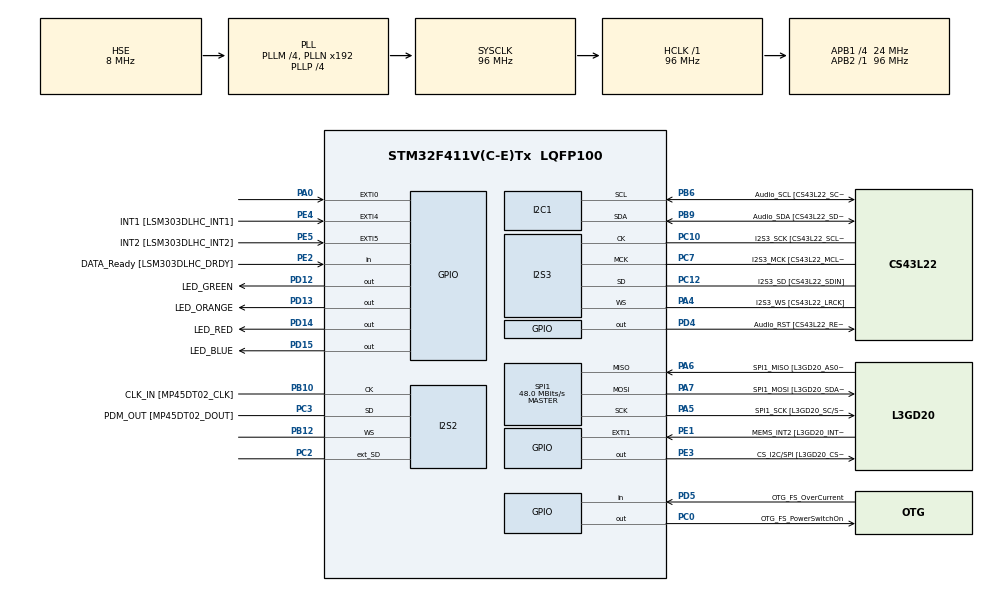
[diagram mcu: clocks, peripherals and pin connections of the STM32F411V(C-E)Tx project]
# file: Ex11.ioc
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FREERTOS.BinarySemaphores01=CriticalResourceSemaphore,Dynamic,NULL
FREERTOS.INCLUDE_vTaskDelayUntil=1
FREERTOS.Mutexes01=CriticalResourceMutex,Dynamic,NULL
FREERTOS.Tasks01=FlashGreenLed,0,128,StartFlashGreenLedTask,Default,NULL,Dynamic,NULL,NULL;FlashRedLed,2,128,StartFlashRedLedTask,Default,NULL,Dynamic,NULL,NULL;FlashOrangeLed,1,128,StartFlashOrangeLedTask,Default,NULL,Dynamic,NULL,NULL
FREERTOS.configUSE_NEWLIB_REENTRANT=1
I2S2.AudioFreq=I2S_AUDIOFREQ_96K
I2S2.ErrorAudioFreq=0.15 %
I2S2.FullDuplexMode=I2S_FULLDUPLEXMODE_ENABLE
I2S2.Instance=SPI$Index
I2S2.RealAudioFreq=96.153 KHz
I2S2.VirtualMode=I2S_MODE_MASTER
I2S3.AudioFreq=I2S_AUDIOFREQ_96K
I2S3.ErrorAudioFreq=-6.99 %
I2S3.FullDuplexMode=I2S_FULLDUPLEXMODE_DISABLE
I2S3.Instance=SPI$Index
I2S3.RealAudioFreq=89.285 KHz
I2S3.VirtualMode=I2S_MODE_MASTER
Mcu.Family=STM32F4
Mcu.Name=STM32F411V(C-E)Tx
Mcu.Package=LQFP100
NVIC.PriorityGroup=NVIC_PRIORITYGROUP_4
NVIC.TIM1_UP_TIM10_IRQn=true\:15\:0\:false\:false\:true\:false\:false\:true\:true
NVIC.TimeBase=TIM1_UP_TIM10_IRQn
NVIC.TimeBaseIP=TIM1
PA0-WKUP.GPIO_ModeDefaultEXTI=GPIO_MODE_EVT_RISING
PA0-WKUP.Signal=GPXTI0
PA10.GPIO_Label=OTG_FS_ID
PA10.Signal=USB_OTG_FS_ID
PA11.GPIO_Label=OTG_FS_DM
PA11.Signal=USB_OTG_FS_DM
PA12.GPIO_Label=OTG_FS_DP
PA12.Signal=USB_OTG_FS_DP
PA13.GPIO_Label=SWDIO
PA13.Mode=Serial_Wire
PA13.Signal=SYS_JTMS-SWDIO
PA14.GPIO_Label=SWCLK
PA14.Mode=Serial_Wire
PA14.Signal=SYS_JTCK-SWCLK
PA4.GPIO_Label=I2S3_WS [CS43L22_LRCK]
PA4.GPIO_Mode=GPIO_MODE_AF_PP
PA4.GPIO_PuPd=GPIO_NOPULL
PA4.GPIO_Speed=GPIO_SPEED_FREQ_LOW
PA4.Mode=Half_Duplex_Master
PA4.Signal=I2S3_WS
PA5.GPIO_Label=SPI1_SCK [L3GD20_SC/SPC]
PA5.Mode=Full_Duplex_Master
PA5.Signal=SPI1_SCK
PA6.GPIO_Label=SPI1_MISO [L3GD20_AS0/SDO]
PA6.Mode=Full_Duplex_Master
PA6.Signal=SPI1_MISO
PA7.GPIO_Label=SPI1_MOSI [L3GD20_SDA/SDI/SDO]
PA7.Mode=Full_Duplex_Master
PA7.Signal=SPI1_MOSI
PA9.GPIO_Label=VBUS_FS
PA9.Signal=USB_OTG_FS_VBUS
PB10.GPIO_Label=CLK_IN [MP45DT02_CLK]
PB10.Mode=Full_Duplex_Master
PB10.Signal=I2S2_CK
PB12.Mode=Full_Duplex_Master
PB12.Signal=I2S2_WS
PB3.GPIO_Label=SWO
PB3.Signal=SYS_JTDO-SWO
PB6.GPIO_Label=Audio_SCL [CS43L22_SCL]
PB6.GPIO_Mode=GPIO_MODE_AF_OD
PB6.GPIO_Pu=GPIO_PULLUP
PB6.GPIO_PuPd=GPIO_NOPULL
PB6.GPIO_Speed=GPIO_SPEED_FREQ_LOW
PB6.Mode=I2C
PB6.Signal=I2C1_SCL
PB9.GPIO_Label=Audio_SDA [CS43L22_SDA]
PB9.GPIO_Mode=GPIO_MODE_AF_OD
PB9.GPIO_Pu=GPIO_PULLUP
PB9.GPIO_PuPd=GPIO_NOPULL
PB9.GPIO_Speed=GPIO_SPEED_FREQ_LOW
PB9.Mode=I2C
PB9.Signal=I2C1_SDA
PC0.GPIO_Label=OTG_FS_PowerSwitchOn
PC0.PinState=GPIO_PIN_SET
PC0.Signal=GPIO_Output
PC10.GPIO_Label=I2S3_SCK [CS43L22_SCLK]
PC10.GPIO_Mode=GPIO_MODE_AF_PP
PC10.GPIO_PuPd=GPIO_NOPULL
PC10.GPIO_Speed=GPIO_SPEED_FREQ_LOW
PC10.Mode=Half_Duplex_Master
PC10.Signal=I2S3_CK
PC12.GPIO_Label=I2S3_SD [CS43L22_SDIN]
PC12.GPIO_Mode=GPIO_MODE_AF_PP
PC12.GPIO_PuPd=GPIO_NOPULL
PC12.GPIO_Speed=GPIO_SPEED_FREQ_LOW
PC12.Mode=Half_Duplex_Master
PC12.Signal=I2S3_SD
PC14-OSC32_IN.GPIO_Label=PC14-OSC32_IN
PC14-OSC32_IN.Mode=LSE-External-Oscillator
PC14-OSC32_IN.Signal=RCC_OSC32_IN
PC15-OSC32_OUT.GPIO_Label=PC15-OSC32_OUT
PC15-OSC32_OUT.Mode=LSE-External-Oscillator
PC15-OSC32_OUT.Signal=RCC_OSC32_OUT
PC2.Mode=Full_Duplex_Master
PC2.Signal=I2S2_ext_SD
PC3.GPIO_Label=PDM_OUT [MP45DT02_DOUT]
PC3.Mode=Full_Duplex_Master
PC3.Signal=I2S2_SD
PC7.GPIO_Label=I2S3_MCK [CS43L22_MCLK]
PC7.GPIO_Mode=GPIO_MODE_AF_PP
PC7.GPIO_PuPd=GPIO_NOPULL
PC7.GPIO_Speed=GPIO_SPEED_FREQ_LOW
PC7.Mode=Master_Clock_Activated
PC7.Signal=I2S3_MCK
PD12.GPIO_Label=LED_GREEN
PD12.GPIO_PuPd=GPIO_NOPULL
PD12.GPIO_Speed=GPIO_SPEED_FREQ_LOW
PD12.Signal=GPIO_Output
PD13.GPIO_Label=LED_ORANGE
PD13.GPIO_PuPd=GPIO_NOPULL
PD13.GPIO_Speed=GPIO_SPEED_FREQ_LOW
PD13.Signal=GPIO_Output
PD14.GPIO_Label=LED_RED
PD14.GPIO_PuPd=GPIO_NOPULL
PD14.GPIO_Speed=GPIO_SPEED_FREQ_LOW
PD14.Signal=GPIO_Output
PD15.GPIO_Label=LED_BLUE
PD15.GPIO_PuPd=GPIO_NOPULL
PD15.GPIO_Speed=GPIO_SPEED_FREQ_LOW
PD15.Signal=GPIO_Output
PD4.GPIO_Label=Audio_RST [CS43L22_RESET]
PD4.Signal=GPIO_Output
PD5.GPIO_Label=OTG_FS_OverCurrent
PD5.Signal=GPIO_Input
PE1.GPIO_Label=MEMS_INT2 [L3GD20_INT2]
PE1.GPIO_ModeDefaultEXTI=GPIO_MODE_EVT_RISING
PE1.Signal=GPXTI1
PE2.GPIO_Label=DATA_Ready [LSM303DLHC_DRDY]
PE2.Signal=GPIO_Input
PE3.GPIO_Label=CS_I2C/SPI [L3GD20_CS_I2C/SPI]
PE3.Signal=GPIO_Output
PE4.GPIO_Label=INT1 [LSM303DLHC_INT1]
PE4.GPIO_ModeDefaultEXTI=GPIO_MODE_EVT_RISING
PE4.Signal=GPXTI4
PE5.GPIO_Label=INT2 [LSM303DLHC_INT2]
PE5.GPIO_ModeDefaultEXTI=GPIO_MODE_EVT_RISING
PE5.Signal=GPXTI5
PH0\ -\ OSC_IN.GPIO_Label=PH0-OSC_IN
PH0\ -\ OSC_IN.Mode=HSE-External-Oscillator
PH0\ -\ OSC_IN.Signal=RCC_OSC_IN
PH1\ -\ OSC_OUT.GPIO_Label=PH1-OSC_OUT
PH1\ -\ OSC_OUT.Mode=HSE-External-Oscillator
PH1\ -\ OSC_OUT.Signal=RCC_OSC_OUT
ProjectManager.HeapSize=0x200
ProjectManager.StackSize=0x400
ProjectManager.TargetToolchain=STM32CubeIDE
RCC.48MHZClocksFreq_Value=48000000
RCC.AHBFreq_Value=96000000
RCC.APB1CLKDivider=RCC_HCLK_DIV4
RCC.APB1Freq_Value=24000000
RCC.APB1TimFreq_Value=48000000
RCC.APB2Freq_Value=96000000
RCC.APB2TimFreq_Value=96000000
RCC.CortexFreq_Value=96000000
RCC.HCLKFreq_Value=96000000
RCC.HSE_VALUE=8000000
RCC.HSI_VALUE=16000000
RCC.PLLI2SM=5
RCC.PLLI2SN=200
RCC.PLLM=4
RCC.PLLP=RCC_PLLP_DIV4
RCC.PLLQ=8
RCC.PLLSourceVirtual=RCC_PLLSOURCE_HSE
RCC.SYSCLKFreq_VALUE=96000000
RCC.SYSCLKSource=RCC_SYSCLKSOURCE_PLLCLK
RCC.VCOOutputFreq_Value=384000000
SPI1.BaudRatePrescaler=SPI_BAUDRATEPRESCALER_2
SPI1.CalculateBaudRate=48.0 MBits/s
SPI1.Direction=SPI_DIRECTION_2LINES
SPI1.Mode=SPI_MODE_MASTER
SPI1.VirtualType=VM_MASTER
VP_FREERTOS_VS_CMSIS_V1.Mode=CMSIS_V1
VP_SYS_VS_tim1.Mode=TIM1
board=STM32F411E-DISCO

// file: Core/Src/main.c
/* USER CODE BEGIN Header */
/**
  ******************************************************************************
  * @file           : main.c
  * @brief          : Main program body
  ******************************************************************************
  * @attention
  *
  * Copyright (c) 2024 STMicroelectronics.
  * All rights reserved.
  *
  * This software is licensed under terms that can be found in the LICENSE file
  * in the root directory of this software component.
  * If no LICENSE file comes with this software, it is provided AS-IS.
  *
  ******************************************************************************
  */
/* USER CODE END Header */
#include "main.h"
#include "cmsis_os.h"

I2C_HandleTypeDef hi2c1;

I2S_HandleTypeDef hi2s2;
I2S_HandleTypeDef hi2s3;

SPI_HandleTypeDef hspi1;

osThreadId FlashGreenLedHandle;
osThreadId FlashRedLedHandle;
osThreadId FlashOrangeLedHandle;
osMutexId CriticalResourceMutexHandle;
osSemaphoreId CriticalResourceSemaphoreHandle;

void SystemClock_Config(void);
void PeriphCommonClock_Config(void);
static void MX_GPIO_Init(void);
static void MX_I2C1_Init(void);
static void MX_I2S2_Init(void);
static void MX_I2S3_Init(void);
static void MX_SPI1_Init(void);
void StartFlashGreenLedTask(void const * argument);
void StartFlashRedLedTask(void const * argument);
void StartFlashOrangeLedTask(void const * argument);

int main(void)
{

  /* MCU Configuration--------------------------------------------------------*/

  /* Reset of all peripherals, Initializes the Flash interface and the Systick. */
  HAL_Init();

  /* Configure the system clock */
  SystemClock_Config();

/* Configure the peripherals common clocks */
  PeriphCommonClock_Config();

  /* Initialize all configured peripherals */
  MX_GPIO_Init();
  MX_I2C1_Init();
  MX_I2S2_Init();
  MX_I2S3_Init();
  MX_SPI1_Init();

  /* Create the mutex(es) */
  /* definition and creation of CriticalResourceMutex */
  osMutexDef(CriticalResourceMutex);
  CriticalResourceMutexHandle = osMutexCreate(osMutex(CriticalResourceMutex));

  /* Create the semaphores(s) */
  /* definition and creation of CriticalResourceSemaphore */
  osSemaphoreDef(CriticalResourceSemaphore);
  CriticalResourceSemaphoreHandle = osSemaphoreCreate(osSemaphore(CriticalResourceSemaphore), 1);

  /* Create the thread(s) */
  /* definition and creation of FlashGreenLed */
  osThreadDef(FlashGreenLed, StartFlashGreenLedTask, osPriorityNormal, 0, 128);
  FlashGreenLedHandle = osThreadCreate(osThread(FlashGreenLed), NULL);

  /* definition and creation of FlashRedLed */
  osThreadDef(FlashRedLed, StartFlashRedLedTask, osPriorityHigh, 0, 128);
  FlashRedLedHandle = osThreadCreate(osThread(FlashRedLed), NULL);

  /* definition and creation of FlashOrangeLed */
  osThreadDef(FlashOrangeLed, StartFlashOrangeLedTask, osPriorityAboveNormal, 0, 128);
  FlashOrangeLedHandle = osThreadCreate(osThread(FlashOrangeLed), NULL);

  /* Start scheduler */
  osKernelStart();

  /* We should never get here as control is now taken by the scheduler */
  /* Infinite loop */
  while (1)
  {

  }
}

void SystemClock_Config(void)
{
  RCC_OscInitTypeDef RCC_OscInitStruct = {0};
  RCC_ClkInitTypeDef RCC_ClkInitStruct = {0};

  /** Configure the main internal regulator output voltage
  */
  __HAL_RCC_PWR_CLK_ENABLE();
  __HAL_PWR_VOLTAGESCALING_CONFIG(PWR_REGULATOR_VOLTAGE_SCALE1);

  /** Initializes the RCC Oscillators according to the specified parameters
  * in the RCC_OscInitTypeDef structure.
  */
  RCC_OscInitStruct.OscillatorType = RCC_OSCILLATORTYPE_HSE;
  RCC_OscInitStruct.HSEState = RCC_HSE_ON;
  RCC_OscInitStruct.PLL.PLLState = RCC_PLL_ON;
  RCC_OscInitStruct.PLL.PLLSource = RCC_PLLSOURCE_HSE;
  RCC_OscInitStruct.PLL.PLLM = 4;
  RCC_OscInitStruct.PLL.PLLN = 192;
  RCC_OscInitStruct.PLL.PLLP = RCC_PLLP_DIV4;
  RCC_OscInitStruct.PLL.PLLQ = 8;
  if (HAL_RCC_OscConfig(&RCC_OscInitStruct) != HAL_OK)
  {
    Error_Handler();
  }

  /** Initializes the CPU, AHB and APB buses clocks
  */
  RCC_ClkInitStruct.ClockType = RCC_CLOCKTYPE_HCLK|RCC_CLOCKTYPE_SYSCLK
                              |RCC_CLOCKTYPE_PCLK1|RCC_CLOCKTYPE_PCLK2;
  RCC_ClkInitStruct.SYSCLKSource = RCC_SYSCLKSOURCE_PLLCLK;
  RCC_ClkInitStruct.AHBCLKDivider = RCC_SYSCLK_DIV1;
  RCC_ClkInitStruct.APB1CLKDivider = RCC_HCLK_DIV4;
  RCC_ClkInitStruct.APB2CLKDivider = RCC_HCLK_DIV1;

  if (HAL_RCC_ClockConfig(&RCC_ClkInitStruct, FLASH_LATENCY_3) != HAL_OK)
  {
    Error_Handler();
  }
}

void PeriphCommonClock_Config(void)
{
  RCC_PeriphCLKInitTypeDef PeriphClkInitStruct = {0};

  /** Initializes the peripherals clock
  */
  PeriphClkInitStruct.PeriphClockSelection = RCC_PERIPHCLK_I2S;
  PeriphClkInitStruct.PLLI2S.PLLI2SN = 200;
  PeriphClkInitStruct.PLLI2S.PLLI2SM = 5;
  PeriphClkInitStruct.PLLI2S.PLLI2SR = 2;
  if (HAL_RCCEx_PeriphCLKConfig(&PeriphClkInitStruct) != HAL_OK)
  {
    Error_Handler();
  }
}

static void MX_I2C1_Init(void)
{

  hi2c1.Instance = I2C1;
  hi2c1.Init.ClockSpeed = 100000;
  hi2c1.Init.DutyCycle = I2C_DUTYCYCLE_2;
  hi2c1.Init.OwnAddress1 = 0;
  hi2c1.Init.AddressingMode = I2C_ADDRESSINGMODE_7BIT;
  hi2c1.Init.DualAddressMode = I2C_DUALADDRESS_DISABLE;
  hi2c1.Init.OwnAddress2 = 0;
  hi2c1.Init.GeneralCallMode = I2C_GENERALCALL_DISABLE;
  hi2c1.Init.NoStretchMode = I2C_NOSTRETCH_DISABLE;
  if (HAL_I2C_Init(&hi2c1) != HAL_OK)
  {
    Error_Handler();
  }

}

static void MX_I2S2_Init(void)
{

  hi2s2.Instance = SPI2;
  hi2s2.Init.Mode = I2S_MODE_MASTER_TX;
  hi2s2.Init.Standard = I2S_STANDARD_PHILIPS;
  hi2s2.Init.DataFormat = I2S_DATAFORMAT_16B;
  hi2s2.Init.MCLKOutput = I2S_MCLKOUTPUT_DISABLE;
  hi2s2.Init.AudioFreq = I2S_AUDIOFREQ_96K;
  hi2s2.Init.CPOL = I2S_CPOL_LOW;
  hi2s2.Init.ClockSource = I2S_CLOCK_PLL;
  hi2s2.Init.FullDuplexMode = I2S_FULLDUPLEXMODE_ENABLE;
  if (HAL_I2S_Init(&hi2s2) != HAL_OK)
  {
    Error_Handler();
  }

}

static void MX_I2S3_Init(void)
{

  hi2s3.Instance = SPI3;
  hi2s3.Init.Mode = I2S_MODE_MASTER_TX;
  hi2s3.Init.Standard = I2S_STANDARD_PHILIPS;
  hi2s3.Init.DataFormat = I2S_DATAFORMAT_16B;
  hi2s3.Init.MCLKOutput = I2S_MCLKOUTPUT_ENABLE;
  hi2s3.Init.AudioFreq = I2S_AUDIOFREQ_96K;
  hi2s3.Init.CPOL = I2S_CPOL_LOW;
  hi2s3.Init.ClockSource = I2S_CLOCK_PLL;
  hi2s3.Init.FullDuplexMode = I2S_FULLDUPLEXMODE_DISABLE;
  if (HAL_I2S_Init(&hi2s3) != HAL_OK)
  {
    Error_Handler();
  }

}

static void MX_SPI1_Init(void)
{

  /* SPI1 parameter configuration*/
  hspi1.Instance = SPI1;
  hspi1.Init.Mode = SPI_MODE_MASTER;
  hspi1.Init.Direction = SPI_DIRECTION_2LINES;
  hspi1.Init.DataSize = SPI_DATASIZE_8BIT;
  hspi1.Init.CLKPolarity = SPI_POLARITY_LOW;
  hspi1.Init.CLKPhase = SPI_PHASE_1EDGE;
  hspi1.Init.NSS = SPI_NSS_SOFT;
  hspi1.Init.BaudRatePrescaler = SPI_BAUDRATEPRESCALER_2;
  hspi1.Init.FirstBit = SPI_FIRSTBIT_MSB;
  hspi1.Init.TIMode = SPI_TIMODE_DISABLE;
  hspi1.Init.CRCCalculation = SPI_CRCCALCULATION_DISABLE;
  hspi1.Init.CRCPolynomial = 10;
  if (HAL_SPI_Init(&hspi1) != HAL_OK)
  {
    Error_Handler();
  }

}

static void MX_GPIO_Init(void)
{
  GPIO_InitTypeDef GPIO_InitStruct = {0};

  /* GPIO Ports Clock Enable */
  __HAL_RCC_GPIOE_CLK_ENABLE();
  __HAL_RCC_GPIOC_CLK_ENABLE();
  __HAL_RCC_GPIOH_CLK_ENABLE();
  __HAL_RCC_GPIOA_CLK_ENABLE();
  __HAL_RCC_GPIOB_CLK_ENABLE();
  __HAL_RCC_GPIOD_CLK_ENABLE();

  /*Configure GPIO pin Output Level */
  HAL_GPIO_WritePin(CS_I2C_SPI_GPIO_Port, CS_I2C_SPI_Pin, GPIO_PIN_RESET);

  /*Configure GPIO pin Output Level */
  HAL_GPIO_WritePin(OTG_FS_PowerSwitchOn_GPIO_Port, OTG_FS_PowerSwitchOn_Pin, GPIO_PIN_SET);

  /*Configure GPIO pin Output Level */
  HAL_GPIO_WritePin(GPIOD, LED_GREEN_Pin|LED_ORANGE_Pin|LED_RED_Pin|LED_BLUE_Pin
                          |Audio_RST_Pin, GPIO_PIN_RESET);

  /*Configure GPIO pin : DATA_Ready_Pin */
  GPIO_InitStruct.Pin = DATA_Ready_Pin;
  GPIO_InitStruct.Mode = GPIO_MODE_INPUT;
  GPIO_InitStruct.Pull = GPIO_NOPULL;
  HAL_GPIO_Init(DATA_Ready_GPIO_Port, &GPIO_InitStruct);

  /*Configure GPIO pin : CS_I2C_SPI_Pin */
  GPIO_InitStruct.Pin = CS_I2C_SPI_Pin;
  GPIO_InitStruct.Mode = GPIO_MODE_OUTPUT_PP;
  GPIO_InitStruct.Pull = GPIO_NOPULL;
  GPIO_InitStruct.Speed = GPIO_SPEED_FREQ_LOW;
  HAL_GPIO_Init(CS_I2C_SPI_GPIO_Port, &GPIO_InitStruct);

  /*Configure GPIO pins : INT1_Pin INT2_Pin MEMS_INT2_Pin */
  GPIO_InitStruct.Pin = INT1_Pin|INT2_Pin|MEMS_INT2_Pin;
  GPIO_InitStruct.Mode = GPIO_MODE_EVT_RISING;
  GPIO_InitStruct.Pull = GPIO_NOPULL;
  HAL_GPIO_Init(GPIOE, &GPIO_InitStruct);

  /*Configure GPIO pin : OTG_FS_PowerSwitchOn_Pin */
  GPIO_InitStruct.Pin = OTG_FS_PowerSwitchOn_Pin;
  GPIO_InitStruct.Mode = GPIO_MODE_OUTPUT_PP;
  GPIO_InitStruct.Pull = GPIO_NOPULL;
  GPIO_InitStruct.Speed = GPIO_SPEED_FREQ_LOW;
  HAL_GPIO_Init(OTG_FS_PowerSwitchOn_GPIO_Port, &GPIO_InitStruct);

  /*Configure GPIO pin : PA0 */
  GPIO_InitStruct.Pin = GPIO_PIN_0;
  GPIO_InitStruct.Mode = GPIO_MODE_EVT_RISING;
  GPIO_InitStruct.Pull = GPIO_NOPULL;
  HAL_GPIO_Init(GPIOA, &GPIO_InitStruct);

  /*Configure GPIO pins : LED_GREEN_Pin LED_ORANGE_Pin LED_RED_Pin LED_BLUE_Pin
                           Audio_RST_Pin */
  GPIO_InitStruct.Pin = LED_GREEN_Pin|LED_ORANGE_Pin|LED_RED_Pin|LED_BLUE_Pin
                          |Audio_RST_Pin;
  GPIO_InitStruct.Mode = GPIO_MODE_OUTPUT_PP;
  GPIO_InitStruct.Pull = GPIO_NOPULL;
  GPIO_InitStruct.Speed = GPIO_SPEED_FREQ_LOW;
  HAL_GPIO_Init(GPIOD, &GPIO_InitStruct);

  /*Configure GPIO pin : VBUS_FS_Pin */
  GPIO_InitStruct.Pin = VBUS_FS_Pin;
  GPIO_InitStruct.Mode = GPIO_MODE_INPUT;
  GPIO_InitStruct.Pull = GPIO_NOPULL;
  HAL_GPIO_Init(VBUS_FS_GPIO_Port, &GPIO_InitStruct);

  /*Configure GPIO pins : OTG_FS_ID_Pin OTG_FS_DM_Pin OTG_FS_DP_Pin */
  GPIO_InitStruct.Pin = OTG_FS_ID_Pin|OTG_FS_DM_Pin|OTG_FS_DP_Pin;
  GPIO_InitStruct.Mode = GPIO_MODE_AF_PP;
  GPIO_InitStruct.Pull = GPIO_NOPULL;
  GPIO_InitStruct.Speed = GPIO_SPEED_FREQ_VERY_HIGH;
  GPIO_InitStruct.Alternate = GPIO_AF10_OTG_FS;
  HAL_GPIO_Init(GPIOA, &GPIO_InitStruct);

  /*Configure GPIO pin : OTG_FS_OverCurrent_Pin */
  GPIO_InitStruct.Pin = OTG_FS_OverCurrent_Pin;
  GPIO_InitStruct.Mode = GPIO_MODE_INPUT;
  GPIO_InitStruct.Pull = GPIO_NOPULL;
  HAL_GPIO_Init(OTG_FS_OverCurrent_GPIO_Port, &GPIO_InitStruct);

}

/* USER CODE BEGIN 4 */
//Do not call function to flash BLUE LED bc it will suspend the tasks after the blue led flashes
int waitTime = (75000 * 4.5);
void flashLED(uint16_t color){//flashes LED for 4 seconds at 10Hz

	for(int i=0;i<=40;++i){//40*100 mSec = 4 seconds
		HAL_GPIO_WritePin(GPIOD, color, GPIO_PIN_SET);//led on
		for(int i=0;i<waitTime;++i);//~50 mSeconds
		HAL_GPIO_WritePin(GPIOD, color, GPIO_PIN_RESET);//led off
		for(int i=0;i<waitTime;++i);//~50 mSeconds
		}//nested for
	vTaskSuspend(NULL);

	return;
}//flash led

void Access_Function(){
	osSemaphoreWait(CriticalResourceSemaphoreHandle, osWaitForever);//semaphore P (i.e. wait)

//	int waitTime = 750000;
	for(int i=0;i<=20;++i){//20*100 mSec = 2 seconds
		HAL_GPIO_WritePin(GPIOD, LED_BLUE_Pin, GPIO_PIN_SET);//blue on
		for(int i=0;i<waitTime;++i);//~50 mSeconds
		HAL_GPIO_WritePin(GPIOD, LED_BLUE_Pin, GPIO_PIN_RESET);//blue off
		for(int i=0;i<waitTime;++i);//~50 mSeconds
	}//nested for

	osSemaphoreRelease(CriticalResourceSemaphoreHandle);//semaphore V (i.e. signal)
	return;
}//access function
/* USER CODE END 4 */

void StartFlashGreenLedTask(void const * argument)
{
  /* USER CODE BEGIN 5 */
  /* Infinite loop */
  for(;;)
  {
	  Access_Function();
	  flashLED(LED_GREEN_Pin);
  }
  /* USER CODE END 5 */
}

void StartFlashRedLedTask(void const * argument)
{
  /* USER CODE BEGIN StartFlashRedLedTask */
  /* Infinite loop */
  for(;;)
  {
	  osDelay(1000);
	  Access_Function();
	  flashLED(LED_RED_Pin);
  }
  /* USER CODE END StartFlashRedLedTask */
}

void StartFlashOrangeLedTask(void const * argument)
{
  /* USER CODE BEGIN StartFlashOrangeLedTask */
  /* Infinite loop */
  for(;;)
  {
	  osDelay(1000);
	  flashLED(LED_ORANGE_Pin);
  }
  /* USER CODE END StartFlashOrangeLedTask */
}

void HAL_TIM_PeriodElapsedCallback(TIM_HandleTypeDef *htim)
{
  if (htim->Instance == TIM1) {
    HAL_IncTick();
  }
}

void Error_Handler(void)
{
  __disable_irq();
  while (1)
  {
  }
}
